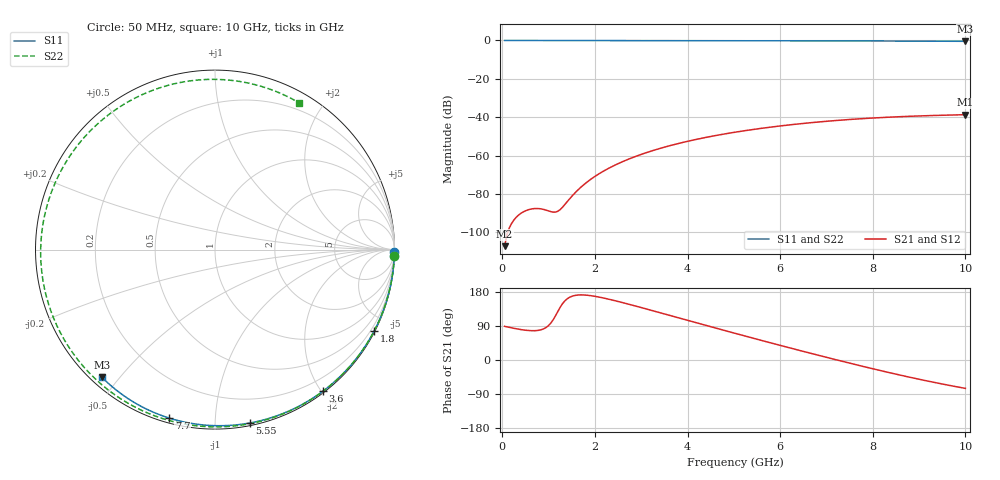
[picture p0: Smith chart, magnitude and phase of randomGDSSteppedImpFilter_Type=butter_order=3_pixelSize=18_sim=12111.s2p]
! freq	dB(S11)	phase(S11)	dB(S12)	phase(S12)
!  dB(S21)	phase(S21)	dB(S22)	phase(S22)
!S-par simulation data
#  GHz  S  DB  R 50
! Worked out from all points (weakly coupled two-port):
!   200 points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, 50 MHz to 10 GHz, reference 50 ohm
!   highest |S21| = -38.70 dB at 10 GHz (marker M1); lowest = -107.2 dB at 50 MHz (marker M2)
!   lowest |S11| = -0.4 dB at 10 GHz (marker M3), VSWR 39.00, Z = 1.54 - j22.5 ohm
!   |S11| at or under -10 dB: nowhere
!   |S22| runs from -0.5 to 0.0 dB; largest |S21 - S12| = 0
!   S11 on the Smith chart (normalised r, x): 50 MHz: open; 1.8 GHz: 0.04, -4.17; 3.6 GHz: 0.02, -2.02; 5.55 GHz: 0.02, -1.22; 7.7 GHz: 0.02, -0.77; 10 GHz: 0.03, -0.45
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0.05  -0.00 -0.8  -107.24 88.8  -107.24 88.8  -0.00 -1.9
0.4  -0.01 -6.1  -90.16 80.3  -90.16 80.3  -0.02 -15.2
0.75  -0.01 -11.3  -87.61 77.7  -87.61 77.7  -0.04 -28.4
1.15  -0.02 -17.3  -89.47 116.9  -89.47 116.9  -0.05 -43.1
1.55  -0.03 -23.3  -79.96 169.9  -79.96 169.9  -0.07 -57.3
1.75  -0.03 -26.2  -75.39 171.7  -75.39 171.7  -0.08 -64.2
1.8  -0.03 -27.0  -74.39 171.3  -74.39 171.3  -0.08 -65.9
2.1  -0.04 -31.3  -69.34 165.8  -69.34 165.8  -0.09 -76.0
2.45  -0.05 -36.4  -64.80 156.0  -64.80 156.0  -0.10 -87.3
2.9  -0.06 -42.9  -60.26 141.7  -60.26 141.7  -0.12 -101.3
3.4  -0.07 -49.9  -56.32 125.0  -56.32 125.0  -0.14 -116.0
3.6  -0.07 -52.7  -54.97 118.2  -54.97 118.2  -0.15 -121.7
4.35  -0.09 -63.0  -50.76 92.9  -50.76 92.9  -0.18 -142.3
5.05  -0.11 -72.3  -47.73 69.6  -47.73 69.6  -0.21 -160.8
5.55  -0.13 -78.7  -45.95 53.2  -45.95 53.2  -0.24 -173.7
6.1  -0.15 -85.7  -44.29 35.4  -44.29 35.4  -0.27 172.1
6.7  -0.18 -93.1  -42.78 16.4  -42.78 16.4  -0.31 156.5
7.7  -0.24 -105.1  -40.87 -14.3  -40.87 -14.3  -0.38 129.5
8.35  -0.29 -112.7  -39.99 -33.2  -39.99 -33.2  -0.42 110.9
8.8  -0.33 -117.9  -39.53 -45.5  -39.53 -45.5  -0.45 97.6
9.2  -0.36 -122.5  -39.20 -56.0  -39.20 -56.0  -0.47 85.3
10  -0.45 -131.5  -38.70 -74.9  -38.70 -74.9  -0.51 60.0
